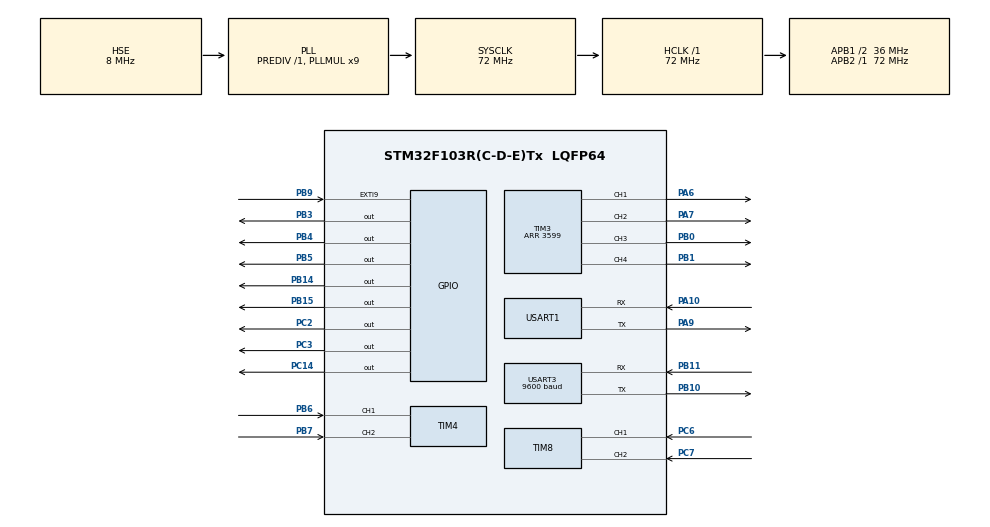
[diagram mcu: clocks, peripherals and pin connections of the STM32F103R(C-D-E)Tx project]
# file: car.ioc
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Mcu.Family=STM32F1
Mcu.Name=STM32F103R(C-D-E)Tx
Mcu.Package=LQFP64
NVIC.PriorityGroup=NVIC_PRIORITYGROUP_4
NVIC.EXTI9_5_IRQn=true\:1\:0\:false\:false\:true\:true\:true\:true
NVIC.USART1_IRQn=true\:0\:0\:false\:false\:true\:true\:true\:true
NVIC.USART3_IRQn=true\:0\:0\:false\:false\:true\:true\:true\:true
PA10.Mode=Asynchronous
PA10.Signal=USART1_RX
PA13.Mode=Serial_Wire
PA13.Signal=SYS_JTMS-SWDIO
PA14.Mode=Serial_Wire
PA14.Signal=SYS_JTCK-SWCLK
PA6.Signal=S_TIM3_CH1
PA7.Signal=S_TIM3_CH2
PA9.Mode=Asynchronous
PA9.Signal=USART1_TX
PB0.Signal=S_TIM3_CH3
PB1.Signal=S_TIM3_CH4
PB10.Mode=Asynchronous
PB10.Signal=USART3_TX
PB11.Mode=Asynchronous
PB11.Signal=USART3_RX
PB14.Signal=GPIO_Output
PB15.Signal=GPIO_Output
PB3.GPIO_Speed=GPIO_SPEED_FREQ_LOW
PB3.Signal=GPIO_Output
PB4.Signal=GPIO_Output
PB5.Signal=GPIO_Output
PB6.Signal=S_TIM4_CH1
PB7.Signal=S_TIM4_CH2
PB9.GPIO_ModeDefaultEXTI=GPIO_MODE_IT_FALLING
PB9.GPIO_PuPd=GPIO_PULLUP
PB9.Signal=GPXTI9
PC14-OSC32_IN.Signal=GPIO_Output
PC2.Signal=GPIO_Output
PC3.Signal=GPIO_Output
PC6.Signal=S_TIM8_CH1
PC7.Signal=S_TIM8_CH2
PD0-OSC_IN.Mode=HSE-External-Oscillator
PD0-OSC_IN.Signal=RCC_OSC_IN
PD1-OSC_OUT.Mode=HSE-External-Oscillator
PD1-OSC_OUT.Signal=RCC_OSC_OUT
ProjectManager.HeapSize=0x200
ProjectManager.StackSize=0x400
ProjectManager.TargetToolchain=MDK-ARM V5.32
RCC.AHBFreq_Value=72000000
RCC.APB1CLKDivider=RCC_HCLK_DIV2
RCC.APB1Freq_Value=36000000
RCC.APB1TimFreq_Value=72000000
RCC.APB2Freq_Value=72000000
RCC.APB2TimFreq_Value=72000000
RCC.HCLKFreq_Value=72000000
RCC.PLLMUL=RCC_PLL_MUL9
RCC.PLLSourceVirtual=RCC_PLLSOURCE_HSE
RCC.SYSCLKFreq_VALUE=72000000
RCC.SYSCLKSource=RCC_SYSCLKSOURCE_PLLCLK
RCC.USBFreq_Value=72000000
SH.S_TIM3_CH1.0=TIM3_CH1,PWM Generation1 CH1
SH.S_TIM3_CH2.0=TIM3_CH2,PWM Generation2 CH2
SH.S_TIM3_CH3.0=TIM3_CH3,PWM Generation3 CH3
SH.S_TIM3_CH4.0=TIM3_CH4,PWM Generation4 CH4
SH.S_TIM4_CH1.0=TIM4_CH1,Encoder_Interface
SH.S_TIM4_CH2.0=TIM4_CH2,Encoder_Interface
SH.S_TIM8_CH1.0=TIM8_CH1,Encoder_Interface
SH.S_TIM8_CH2.0=TIM8_CH2,Encoder_Interface
TIM3.Channel-PWM\ Generation1\ CH1=TIM_CHANNEL_1
TIM3.Channel-PWM\ Generation2\ CH2=TIM_CHANNEL_2
TIM3.Channel-PWM\ Generation3\ CH3=TIM_CHANNEL_3
TIM3.Channel-PWM\ Generation4\ CH4=TIM_CHANNEL_4
TIM3.Period=3599
TIM4.EncoderMode=TIM_ENCODERMODE_TI12
TIM8.EncoderMode=TIM_ENCODERMODE_TI12
USART1.VirtualMode=VM_ASYNC
USART3.BaudRate=9600
USART3.VirtualMode=VM_ASYNC
board=custom

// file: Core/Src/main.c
/* USER CODE BEGIN Header */
/**
  ******************************************************************************
  * @file           : main.c
  * @brief          : Main program body
  ******************************************************************************
  * @attention
  *
  * Copyright (c) 2026 STMicroelectronics.
  * All rights reserved.
  *
  * This software is licensed under terms that can be found in the LICENSE file
  * in the root directory of this software component.
  * If no LICENSE file comes with this software, it is provided AS-IS.
  *
  ******************************************************************************
  */
/* USER CODE END Header */
#include "main.h"
#include "tim.h"
#include "usart.h"
#include "gpio.h"

/* USER CODE BEGIN Includes */
#include "encoder.h"
#include "angle_pid.h"
#include "mpu_app.h"
#include "motor.h"
#include "oled.h"
#include "speed_ctrl.h"
#include "bluetooth.h"
/* USER CODE END Includes */

void SystemClock_Config(void);

/* USER CODE BEGIN 0 */
static char Main_HexNibble(uint8_t value)
{
  value &= 0x0FU;

  if (value < 10U)
  {
    return (char)('0' + value);
  }

  return (char)('A' + value - 10U);
}

static void Main_FormatHexByte(uint8_t value, char *text)
{
  text[0] = '0';
  text[1] = 'x';
  text[2] = Main_HexNibble(value >> 4);
  text[3] = Main_HexNibble(value);
  text[4] = '\0';
}

/* USER CODE END 0 */

int main(void)
{

  /* MCU Configuration--------------------------------------------------------*/

  /* Reset of all peripherals, Initializes the Flash interface and the Systick. */
  HAL_Init();

  /* Configure the system clock */
  SystemClock_Config();

  /* Initialize all configured peripherals */
  MX_GPIO_Init();
  MX_TIM3_Init();
  MX_TIM4_Init();
  MX_TIM8_Init();
  MX_USART1_UART_Init();
  MX_USART3_UART_Init();
  /* USER CODE BEGIN 2 */
  Motor_Init();

  /* Encoder_Init(); */
  /* SpeedCtrl_Init(); */
  /* SpeedCtrl_SetTarget(500, 500); */
  MpuApp_Init();
  AnglePid_Init();
  Bluetooth_Init();
  OLED_Clear();
  OLED_ShowString(0, 0, (u8 *)"BT WAIT");
  OLED_ShowString(0, 16, (u8 *)"USART3 9600");
  OLED_Refresh_Gram();
  /* USER CODE END 2 */

  /* Infinite loop */
  while (1)
  {

    /* USER CODE BEGIN 3 */
    BluetoothCommand_t bt_cmd;
    BluetoothStatus_t bt_status;
    uint8_t bt_raw;
    char bt_raw_text[5];

    if (Bluetooth_ReadCommand(&bt_cmd, &bt_raw) != 0U)
    {
      Main_FormatHexByte(bt_raw, bt_raw_text);
      bt_status = Bluetooth_GetStatus();

      OLED_Clear();
      OLED_ShowString(0, 0, (u8 *)"BT RX OK");
      OLED_ShowString(0, 16, (u8 *)"RAW:");
      OLED_ShowString(32, 16, (u8 *)bt_raw_text);
      OLED_ShowString(0, 32, (u8 *)"CMD:");
      OLED_ShowString(32, 32, (u8 *)Bluetooth_GetCommandName(bt_cmd));
      OLED_ShowString(0, 48, (u8 *)"CNT:");
      OLED_ShowNumber(32, 48, bt_status.rx_count, 5, 12);
      OLED_ShowString(80, 48, (u8 *)"OVF:");
      OLED_ShowNumber(112, 48, bt_status.overflow_count, 2, 12);
      OLED_Refresh_Gram();
    }
    /* Encoder_Task(); */
    /* SpeedCtrl_Task(); */

    AnglePid_SerialTask();
    MpuApp_Task();

    HAL_Delay(1);
  }
  /* USER CODE END 3 */
}

void SystemClock_Config(void)
{
  RCC_OscInitTypeDef RCC_OscInitStruct = {0};
  RCC_ClkInitTypeDef RCC_ClkInitStruct = {0};

  /** Initializes the RCC Oscillators according to the specified parameters
  * in the RCC_OscInitTypeDef structure.
  */
  RCC_OscInitStruct.OscillatorType = RCC_OSCILLATORTYPE_HSE;
  RCC_OscInitStruct.HSEState = RCC_HSE_ON;
  RCC_OscInitStruct.HSEPredivValue = RCC_HSE_PREDIV_DIV1;
  RCC_OscInitStruct.HSIState = RCC_HSI_ON;
  RCC_OscInitStruct.PLL.PLLState = RCC_PLL_ON;
  RCC_OscInitStruct.PLL.PLLSource = RCC_PLLSOURCE_HSE;
  RCC_OscInitStruct.PLL.PLLMUL = RCC_PLL_MUL9;
  if (HAL_RCC_OscConfig(&RCC_OscInitStruct) != HAL_OK)
  {
    Error_Handler();
  }

  /** Initializes the CPU, AHB and APB buses clocks
  */
  RCC_ClkInitStruct.ClockType = RCC_CLOCKTYPE_HCLK|RCC_CLOCKTYPE_SYSCLK
                              |RCC_CLOCKTYPE_PCLK1|RCC_CLOCKTYPE_PCLK2;
  RCC_ClkInitStruct.SYSCLKSource = RCC_SYSCLKSOURCE_PLLCLK;
  RCC_ClkInitStruct.AHBCLKDivider = RCC_SYSCLK_DIV1;
  RCC_ClkInitStruct.APB1CLKDivider = RCC_HCLK_DIV2;
  RCC_ClkInitStruct.APB2CLKDivider = RCC_HCLK_DIV1;

  if (HAL_RCC_ClockConfig(&RCC_ClkInitStruct, FLASH_LATENCY_2) != HAL_OK)
  {
    Error_Handler();
  }
}

/* USER CODE BEGIN 4 */
void HAL_UART_RxCpltCallback(UART_HandleTypeDef *huart)
{
  AnglePid_UART_RxCpltCallback(huart);
  Bluetooth_UART_RxCpltCallback(huart);
}

void HAL_UART_ErrorCallback(UART_HandleTypeDef *huart)
{
  AnglePid_UART_ErrorCallback(huart);
  Bluetooth_UART_ErrorCallback(huart);
}

void HAL_GPIO_EXTI_Callback(uint16_t GPIO_Pin)
{
  static uint8_t pid_divider = 0U;

  if (GPIO_Pin != MPU_INT_Pin)
  {
    return;
  }

  if (MpuApp_Read(NULL) == 0U)
  {
    return;
  }

  pid_divider++;
  if (pid_divider >= 2U)
  {
    pid_divider = 0U;
    Control_Task_10ms();
  }
}

/* USER CODE END 4 */

void Error_Handler(void)
{
  __disable_irq();
  while (1)
  {
  }
}
/* by codex */
